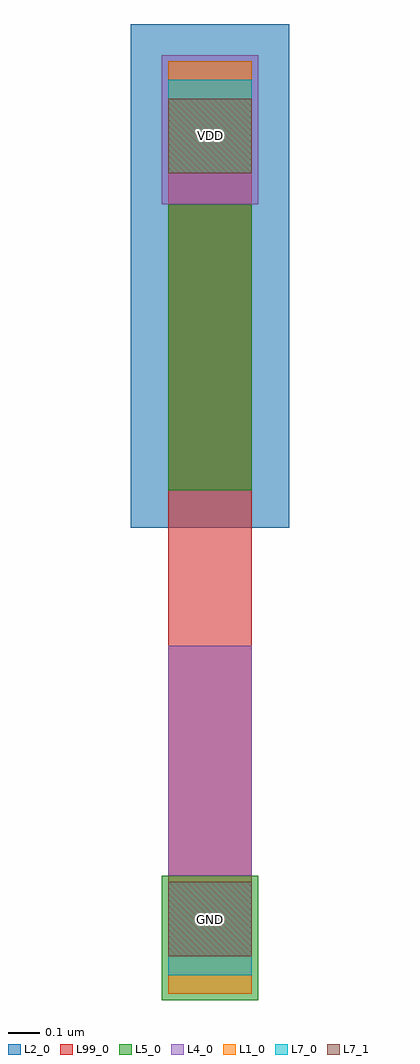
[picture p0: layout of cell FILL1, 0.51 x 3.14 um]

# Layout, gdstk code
import gdstk
lib = gdstk.Library(unit=1e-6, precision=5e-10)
def R(c, l, rs):  # rectangles x0, y0, x1, y1
    for r in rs: c.add(gdstk.rectangle(r[:2], r[2:], *l))
L1_0 = (1, 0)
L2_0 = (2, 0)
L4_0 = (4, 0)
L5_0 = (5, 0)
L7_0 = (7, 0)
L7_1 = (7, 1)
L99_0 = (99, 0)

fill1 = lib.new_cell('FILL1')
R(fill1, L1_0, [(0,-0.12,0.27,0.24), (0,2.52,0.27,2.88)])
R(fill1, L2_0, [(-0.12,1.38,0.39,3)])
R(fill1, L4_0, [(0,0.26,0.27,1), (-0.02,2.42,0.29,2.9)])
R(fill1, L5_0, [(-0.02,-0.14,0.29,0.26), (0,1.5,0.27,2.42)])
R(fill1, L7_0, [(0,-0.06,0.27,0.24), (0,2.52,0.27,2.82)])
R(fill1, L7_1, [(0,0,0.27,0.24), (0,2.52,0.27,2.76)])
R(fill1, L99_0, [(0,0,0.27,2.76)])
fill1.add(gdstk.Label('VDD', (0.135,2.64), layer=7, texttype=3))
fill1.add(gdstk.Label('GND', (0.135,0.12), layer=7, texttype=3))

lib.write_gds('FILL1.gds')
